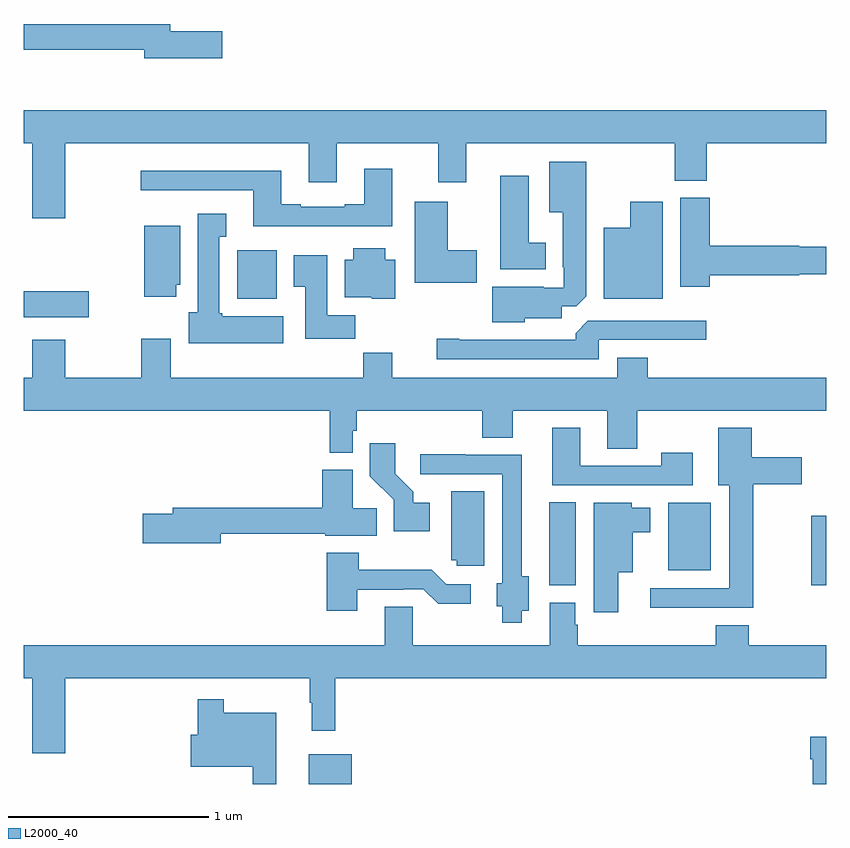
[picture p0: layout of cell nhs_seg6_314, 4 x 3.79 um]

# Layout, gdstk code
import gdstk
lib = gdstk.Library(unit=1e-6, precision=1e-09)
def R(c, l, rs):  # rectangles x0, y0, x1, y1
    for r in rs: c.add(gdstk.rectangle(r[:2], r[2:], *l))
def P(c, l, *ps):  # polygons
    for p in ps: c.add(gdstk.Polygon(p, *l))
L2000_40 = (2000, 40)

nhs_seg6_314 = lib.new_cell('nhs_seg6_314')
R(nhs_seg6_314, L2000_40, [(130.421,921.5,130.636,921.649), (131.618,922.489,131.752,922.904), (132.925,922.489,133,922.837), (132.212,922.565,132.424,922.9), (129,923.825,129.325,923.955), (130.064,923.918,130.261,924.16)])
P(nhs_seg6_314, L2000_40, [(129.991,925.25),(129.73,925.25),(129.73,925.286),(129,925.286),(129,925.158),(129.602,925.158),(129.602,925.115),(129.991,925.115)],
  [(129.208,924.692),(130.421,924.692),(130.421,924.498),(130.561,924.498),(130.561,924.692),(131.066,924.692),(131.066,924.498),(131.206,924.498),(131.206,924.692),(132.244,924.692),(132.244,924.505),(132.404,924.505),(132.404,924.692),(133,924.692),(133,924.856),(129,924.856),(129,924.692),(129.044,924.692),(129.044,924.318),(129.208,924.318)],
  [(131.496,923.819),(131.68,923.819),(131.68,923.88),(131.754,923.88),(131.803,923.929),(131.803,924.601),(131.618,924.601),(131.618,924.347),(131.687,924.347),(131.687,924.073),(131.691,924.073),(131.691,923.973),(131.591,923.973),(131.591,923.977),(131.336,923.977),(131.336,923.801),(131.496,923.801)],
  [(130.837,924.565),(130.697,924.565),(130.697,924.388),(130.601,924.388),(130.601,924.375),(130.381,924.375),(130.381,924.388),(130.285,924.388),(130.285,924.556),(129.585,924.556),(129.585,924.459),(130.145,924.459),(130.145,924.278),(130.837,924.278)],
  [(131.602,924.196),(131.518,924.196),(131.518,924.529),(131.375,924.529),(131.375,924.065),(131.602,924.065)],
  [(132.419,924.035),(132.864,924.035),(132.864,924.04),(133,924.04),(133,924.176),(132.864,924.176),(132.864,924.182),(132.419,924.182),(132.419,924.42),(132.272,924.42),(132.272,923.976),(132.419,923.976)],
  [(132.184,924.4),(132.023,924.4),(132.023,924.271),(131.891,924.271),(131.891,923.918),(132.184,923.918)],
  [(131.257,924.159),(131.113,924.159),(131.113,924.4),(130.949,924.4),(130.949,923.996),(131.257,923.996)],
  [(130.294,923.83),(129.989,923.83),(129.989,923.844),(129.976,923.844),(129.976,924.227),(130.009,924.227),(130.009,924.34),(129.869,924.34),(129.869,923.85),(129.824,923.85),(129.824,923.696),(130.294,923.696)],
  [(129.76,923.988),(129.781,923.988),(129.781,924.28),(129.602,924.28),(129.602,923.928),(129.76,923.928)],
  [(130.852,924.112),(130.801,924.112),(130.801,924.169),(130.643,924.169),(130.643,924.112),(130.601,924.112),(130.601,923.924),(130.734,923.924),(130.734,923.918),(130.852,923.918)],
  [(130.652,923.836),(130.513,923.836),(130.513,924.133),(130.346,924.133),(130.346,923.977),(130.403,923.977),(130.403,923.718),(130.652,923.718)],
  [(131.865,923.712),(132.4,923.712),(132.4,923.808),(131.811,923.808),(131.75,923.746),(131.75,923.712),(131.17,923.712),(131.17,923.717),(131.058,923.717),(131.058,923.616),(131.865,923.616)],
  [(130.641,923.259),(130.661,923.259),(130.661,923.36),(131.285,923.36),(131.285,923.224),(131.437,923.224),(131.437,923.36),(131.909,923.36),(131.909,923.17),(132.057,923.17),(132.057,923.36),(133,923.36),(133,923.524),(132.11,923.524),(132.11,923.623),(131.957,923.623),(131.957,923.524),(130.837,923.524),(130.837,923.648),(130.693,923.648),(130.693,923.524),(129.733,923.524),(129.733,923.719),(129.586,923.719),(129.586,923.524),(129.208,923.524),(129.208,923.713),(129.044,923.713),(129.044,923.524),(129,923.524),(129,923.36),(130.525,923.36),(130.525,923.15),(130.641,923.15)],
  [(132.636,922.994),(132.877,922.994),(132.877,923.128),(132.628,923.128),(132.628,923.275),(132.461,923.275),(132.461,922.988),(132.515,922.988),(132.515,922.476),(132.123,922.476),(132.123,922.379),(132.636,922.379)],
  [(132.334,923.149),(132.178,923.149),(132.178,923.085),(131.773,923.085),(131.773,923.275),(131.633,923.275),(131.633,922.989),(132.334,922.989)],
  [(131.023,922.9),(130.942,922.9),(130.942,922.955),(130.852,923.045),(130.852,923.197),(130.726,923.197),(130.726,923.034),(130.845,922.915),(130.845,922.76),(131.023,922.76)],
  [(131.482,922.364),(131.518,922.364),(131.518,922.535),(131.482,922.535),(131.482,923.139),(131.201,923.139),(131.201,923.142),(130.977,923.142),(130.977,923.043),(131.385,923.043),(131.385,922.5),(131.357,922.5),(131.357,922.386),(131.384,922.386),(131.384,922.304),(131.482,922.304)],
  [(129.982,922.747),(130.502,922.747),(130.502,922.736),(130.76,922.736),(130.76,922.874),(130.639,922.874),(130.639,923.065),(130.489,923.065),(130.489,922.876),(129.743,922.876),(129.743,922.847),(129.594,922.847),(129.594,922.7),(129.982,922.7)],
  [(131.296,922.958),(131.132,922.958),(131.132,922.614),(131.157,922.614),(131.157,922.587),(131.296,922.587)],
  [(131.962,922.556),(132.034,922.556),(132.034,922.754),(132.121,922.754),(132.121,922.876),(132.03,922.876),(132.03,922.9),(131.84,922.9),(131.84,922.356),(131.962,922.356)],
  [(130.663,922.467),(130.892,922.467),(130.892,922.47),(130.992,922.47),(131.065,922.397),(131.227,922.397),(131.227,922.494),(131.106,922.494),(131.033,922.567),(130.671,922.567),(130.671,922.651),(130.511,922.651),(130.511,922.362),(130.663,922.362)],
  [(133,922.192),(132.614,922.192),(132.614,922.291),(132.449,922.291),(132.449,922.192),(131.762,922.192),(131.762,922.293),(131.749,922.293),(131.749,922.404),(131.621,922.404),(131.621,922.192),(130.938,922.192),(130.938,922.382),(130.799,922.382),(130.799,922.192),(129,922.192),(129,922.028),(129.044,922.028),(129.044,921.654),(129.208,921.654),(129.208,922.028),(130.425,922.028),(130.425,921.905),(130.436,921.905),(130.436,921.765),(130.553,921.765),(130.553,922.028),(133,922.028)],
  [(130.258,921.856),(129.997,921.856),(129.997,921.922),(129.868,921.922),(129.868,921.745),(129.834,921.745),(129.834,921.587),(130.141,921.587),(130.141,921.5),(130.258,921.5)],
  [(133,921.736),(132.92,921.736),(132.92,921.623),(132.932,921.623),(132.932,921.5),(133,921.5)])

lib.write_gds('nhs_seg6_314.gds')
